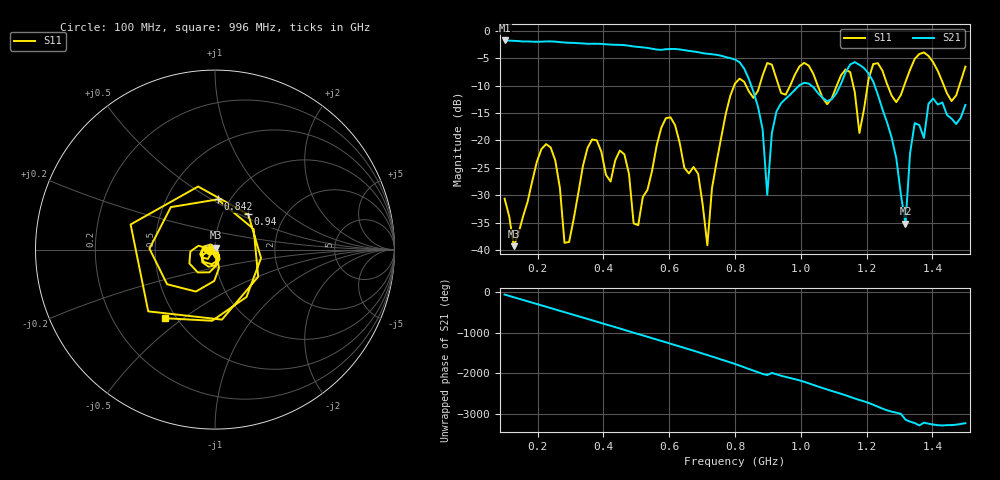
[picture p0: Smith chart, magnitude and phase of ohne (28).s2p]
! NanoVNA-App
! Date: 2025-09-26 09:55:37
! Start: 100MHz Stop: 1,5GHz Points: 101
! S-Parameter data: F S11 S21 S12 S22
# Hz S RI R 50
!  Frequency  S11_Real  S11_Imag  S21_Real  S21_Imag  S12_Real  S12_Imag  S22_Real  S22_Imag
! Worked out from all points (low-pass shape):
!   101 points, 100 MHz to 1.5 GHz, reference 50 ohm
!   highest |S21| = -1.79 dB at 100 MHz (marker M1); lowest = -35.2 dB at 1.318 GHz (marker M2)
!   |S21| within 3 dB of the highest: start of sweep to 770.7 MHz
!   lowest |S11| = -39.3 dB at 128 MHz (marker M3), VSWR 1.02, Z = 50.3 + j1.06 ohm
!   |S11| at or under -10 dB: start of sweep to 797.7 MHz; 833.5 MHz to 874.7 MHz (41.21 MHz wide, 4.82 % of centre); 1.051 GHz to 1.109 GHz (58.04 MHz wide, 5.37 % of centre)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
!   S12 and S22 are empty: the file has one direction only
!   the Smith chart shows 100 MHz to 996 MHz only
!   S11 on the Smith chart (normalised r, x): 100 MHz: 0.94, -0.01; 842 MHz: 0.88, +0.53; 940 MHz: 1.32, +0.56; 996 MHz: 0.44, -0.43
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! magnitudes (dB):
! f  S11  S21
! 100 MHz  -30.6  -1.8
! 128 MHz  -39.3  -1.9
! 212 MHz  -21.6  -2.0
! 282 MHz  -38.7  -2.2
! 338 MHz  -24.6  -2.3
! 464 MHz  -22.6  -2.6
! 506 MHz  -35.4  -3.0
! 576 MHz  -17.7  -3.5
! 716 MHz  -39.1  -4.2
! 800 MHz  -9.6  -5.3
! 842 MHz  -11.0  -8.8
! 898 MHz  -5.9  -29.9
! 940 MHz  -11.4  -13.2
! 996 MHz  -6.5  -9.9
! 1.038 GHz  -7.9  -10.3
! 1.15 GHz  -7.6  -6.2
! 1.178 GHz  -18.6  -6.2
! 1.22 GHz  -6.1  -9.3
! 1.276 GHz  -11.8  -19.5
! 1.318 GHz  -9.3  -35.2
! 1.346 GHz  -5.2  -16.9
! 1.5 GHz  -6.6  -13.5
